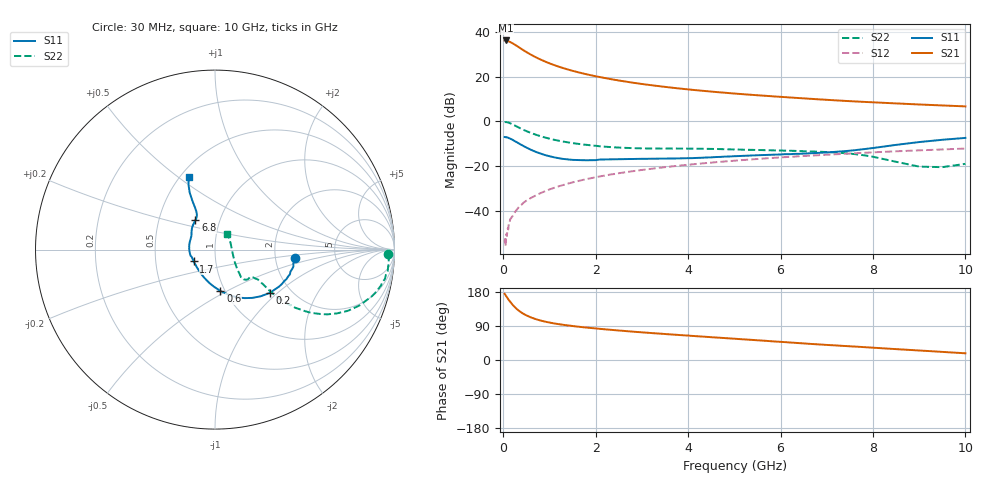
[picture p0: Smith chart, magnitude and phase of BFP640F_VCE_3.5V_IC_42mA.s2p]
! Infineon Technologies  Discrete & RF Semiconductors
! BFP640F
! VCE =  3.5 V,  IC =  42 mA
! Common Emitter S-Parameters:  Apr 2013
# GHz  S  MA  R  50
!  f  S11  S21  S12  S22
! GHz  MAG  ANG  MAG  ANG  MAG  ANG  MAG  ANG
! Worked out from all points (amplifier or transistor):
!   99 points, 30 MHz to 10 GHz, reference 50 ohm
!   highest |S21| = 36.3 dB at 50 MHz (marker M1)
!   |S21| within 3 dB of that: start of sweep to 334.5 MHz
!   unconditionally stable (mu >= 1): 1.566 GHz to end of sweep
!   at 350 MHz: K = 0.57, MSG = 35.6 dB, |S12| = -38.1 dB
!   at 3.5 GHz: K = 1.06, MAG = 16.5 dB, |S12| = -20.5 dB
!   at 10 GHz: K = 1.04, MAG = 8.2 dB, |S12| = -12.1 dB
!   S11 on the Smith chart (normalised r, x): 30 MHz: 2.59, -0.30; 200 MHz: 1.57, -0.89; 600 MHz: 0.95, -0.46; 1.7 GHz: 0.78, -0.11; 6.8 GHz: 0.76, +0.26; 10 GHz: 0.55, +0.54
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0.03  0.4491 -5.9  65.38 174.8  0.002 87.4  0.966 -1.5
0.05  0.4432 -10.1  65.64 171.2  0.0016 108.7  0.9707 -4.3
0.08  0.438 -16.2  64.68 165.6  0.0027 81.1  0.9624 -8.4
0.12  0.424 -24.4  62.59 158.5  0.0052 81.8  0.937 -13.4
0.15  0.4125 -29.9  60.64 153.7  0.0064 77.6  0.9113 -16.6
0.2  0.3894 -38.3  56.95 146.2  0.0075 77.7  0.8638 -21.1
0.25  0.3633 -45.8  52.99 139.6  0.0092 78.5  0.8142 -24.8
0.3  0.3397 -52.4  49.09 133.9  0.0107 78.3  0.7654 -27.7
0.4  0.2963 -64.1  42 124.8  0.0137 76.1  0.6788 -31.8
0.5  0.2606 -73.8  36.16 117.8  0.0167 75.5  0.6095 -34.3
0.6  0.2321 -82.6  31.48 112.4  0.0193 75.2  0.5536 -35.9
0.8  0.192 -98.1  24.71 104.4  0.0246 75.0  0.4701 -37.2
1  0.1665 -111.8  20.17 98.9  0.0299 74.5  0.4122 -37.3
1.3  0.1447 -130.4  15.73 92.8  0.0377 73.8  0.3541 -36.4
1.7  0.1358 -150.9  12.13 86.9  0.0483 72.3  0.3074 -35.1
2.4  0.1421 -174.8  8.651 78.9  0.0664 69.1  0.2637 -36.1
3.4  0.1471 162.1  6.145 69.5  0.0921 64.0  0.2469 -39.7
5.1  0.1679 140.6  4.163 55.3  0.1345 55.0  0.2347 -45.3
6.7  0.1949 124.7  3.201 42.1  0.1725 45.7  0.2122 -46.9
6.8  0.1973 123.5  3.152 41.4  0.1748 45.2  0.2105 -46.8
8.5  0.299 114.9  2.544 28.7  0.2146 35.4  0.1249 -30.1
10  0.4284 110.1  2.182 17.7  0.2472 26.6  0.1123 51.8
